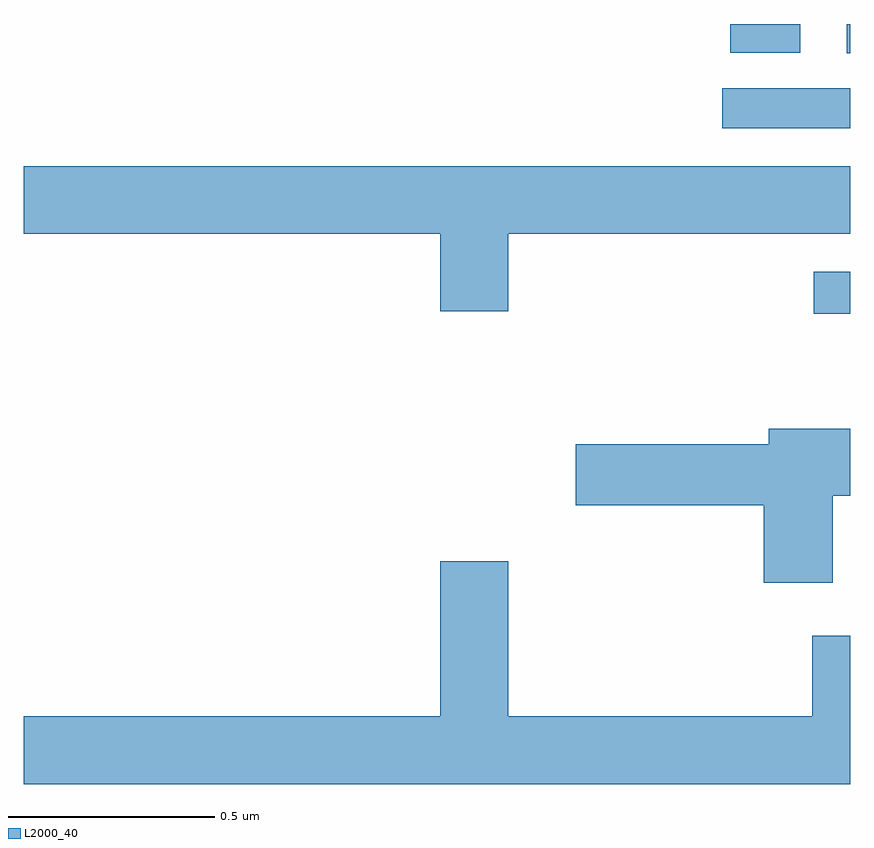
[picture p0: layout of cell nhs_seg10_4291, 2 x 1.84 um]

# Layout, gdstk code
import gdstk
lib = gdstk.Library(unit=1e-6, precision=1e-09)
def R(c, l, rs):  # rectangles x0, y0, x1, y1
    for r in rs: c.add(gdstk.rectangle(r[:2], r[2:], *l))
def P(c, l, *ps):  # polygons
    for p in ps: c.add(gdstk.Polygon(p, *l))
L2000_40 = (2000, 40)

nhs_seg10_4291 = lib.new_cell('nhs_seg10_4291')
R(nhs_seg10_4291, L2000_40, [(165.912,1290.799,166,1290.9), (165.69,1291.248,166,1291.344), (165.992,1291.429,166,1291.5), (165.71,1291.431,165.88,1291.5)])
P(nhs_seg10_4291, L2000_40, [(165.172,1290.992),(166,1290.992),(166,1291.156),(164,1291.156),(164,1290.992),(165.008,1290.992),(165.008,1290.804),(165.172,1290.804)],
  [(165.958,1290.358),(166,1290.358),(166,1290.52),(165.803,1290.52),(165.803,1290.482),(165.336,1290.482),(165.336,1290.335),(165.791,1290.335),(165.791,1290.147),(165.958,1290.147)],
  [(166,1290.019),(165.908,1290.019),(165.908,1289.824),(165.172,1289.824),(165.172,1290.199),(165.008,1290.199),(165.008,1289.824),(164,1289.824),(164,1289.66),(166,1289.66)])

lib.write_gds('nhs_seg10_4291.gds')
